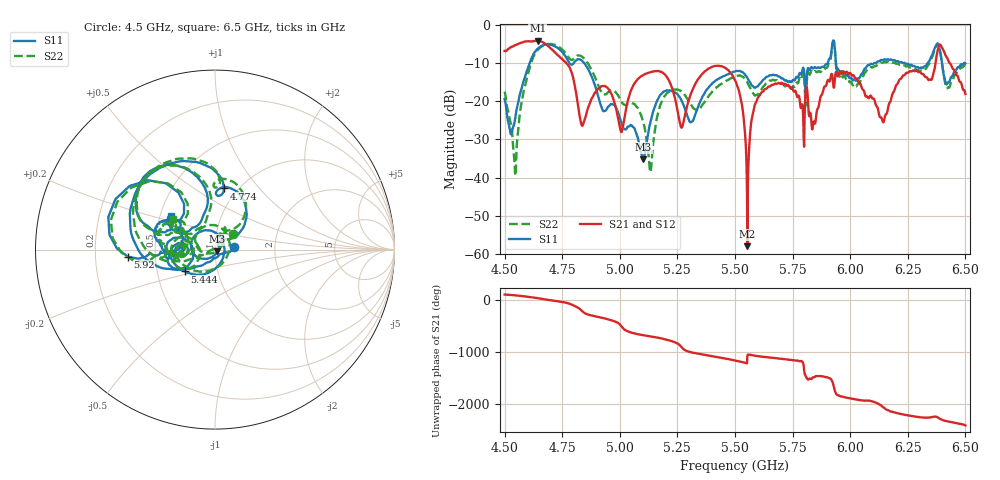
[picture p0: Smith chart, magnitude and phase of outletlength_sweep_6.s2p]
! TOUCHSTONE file generated by CST MICROWAVE STUDIO
! Date and time: Fri Nov 29 14:48:30 2024
! Project name: dual_circularly_polarized_waveguide_antenna.cst
! Parameters = {airCoaxOuterDiameter=3; chamferAngle=45; chamferWidth=24; connectorLength=10; drillingHoleDiameter=4.1; feedLength=60; flareDiameter=130; flareLength=70; gratingDistance=0; gratingGap=1.90274; outletLength=120; polarizerLength=134; probe1Diameter=1.3; probe1Distance=14.068; probe1Len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
! Header version: 2018
! Port assignment regex: !\s*Touchstone port\s*([0-9]+)\s*=\s*(CST MWS port|CST DS port)\s*([0-9]+|Zmin|Zmax)\s*\(\"(.*)\"\)(\s*mode\s*([0-9]+))?.*
! Touchstone port assignment:
! Touchstone port 1 = CST MWS port 1 ("Input1")
! Touchstone port 2 = CST MWS port 2 ("Input2")
# GHz S MA R 50
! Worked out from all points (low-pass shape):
!   1001 points, 4.5 GHz to 6.5 GHz, reference 50 ohm
!   highest |S21| = -4.17 dB at 4.644 GHz (marker M1); lowest = -57.9 dB at 5.554 GHz (marker M2)
!   |S21| within 3 dB of the highest: start of sweep to 4.717 GHz; 6.378085 GHz to 6.408332 GHz (30.25 MHz wide, 0.473 % of centre)
!   lowest |S11| = -35.2 dB at 5.102 GHz (marker M3), VSWR 1.04, Z = 51.4 - j1.05 ohm
!   |S11| at or under -10 dB: start of sweep to 4.609 GHz; 4.845 GHz to 5.903 GHz (1.058 GHz wide, 19.7 % of centre); 5.938 GHz to 6.112 GHz (174.4 MHz wide, 2.89 % of centre)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
!   |S22| runs from -39.5 to -4.3 dB; largest |S21 - S12| = 6.7e-06
!   S11 on the Smith chart (normalised r, x): 4.5 GHz: 1.24, +0.03; 4.774 GHz: 0.87, +0.67; 5.444 GHz: 0.69, -0.18; 5.92 GHz: 0.34, -0.04; 6.5 GHz: 0.57, +0.24
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4.5  0.106 6.5  0.4535 108.2  0.4535 108.2  0.1331 40.6
4.546  0.06001 -104.4  0.5389 92.8  0.5389 92.8  0.01061 120.1
4.644  0.4862 165.6  0.619 38.2  0.619 38.2  0.4676 163.3
4.774  0.3442 81.7  0.2993 -57.7  0.2993 -57.7  0.3875 86.0
4.834  0.3419 67.8  0.04886 158.7  0.04886 158.7  0.3861 73.0
4.93  0.07376 56.3  0.1576 13.0  0.1576 13.0  0.1219 62.7
5.008  0.05111 55.4  0.03961 -149.2  0.03961 -149.2  0.09858 61.3
5.102  0.01728 -36.4  0.2196 45.0  0.2196 45.0  0.05206 36.7
5.132  0.05173 -120.0  0.2385 23.3  0.2385 23.3  0.01182 -56.4
5.168  0.1097 -159.9  0.2477 -4.9  0.2477 -4.9  0.07346 -169.9
5.268  0.1019 96.3  0.04493 175.4  0.04493 175.4  0.1335 86.4
5.444  0.208 -144.3  0.285 -31.8  0.285 -31.8  0.1713 -139.4
5.5  0.2445 -165.3  0.1886 -80.7  0.1886 -80.7  0.2105 -165.0
5.554  0.2003 169.3  0.001272 18.5  0.001272 18.5  0.1747 164.6
5.582  0.1524 176.9  0.08033 14.7  0.08033 14.7  0.1226 170.7
5.638  0.2085 -171.7  0.1469 -18.2  0.1469 -18.2  0.1745 -171.6
5.834  0.2772 -174.9  0.0435 -68.2  0.0435 -68.2  0.2455 -173.2
5.92  0.4878 -175.4  0.2276 -102.8  0.2276 -102.9  0.4632 -172.8
6.02  0.1914 165.5  0.2034 -108.6  0.2034 -108.6  0.1641 163.6
6.168  0.3477 158.3  0.09135 31.1  0.09135 31.1  0.3231 159.1
6.392  0.4185 104.0  0.5439 -130.2  0.5439 -130.2  0.4215 102.7
6.5  0.3114 142.7  0.1241 107.1  0.1241 107.1  0.2889 143.2
